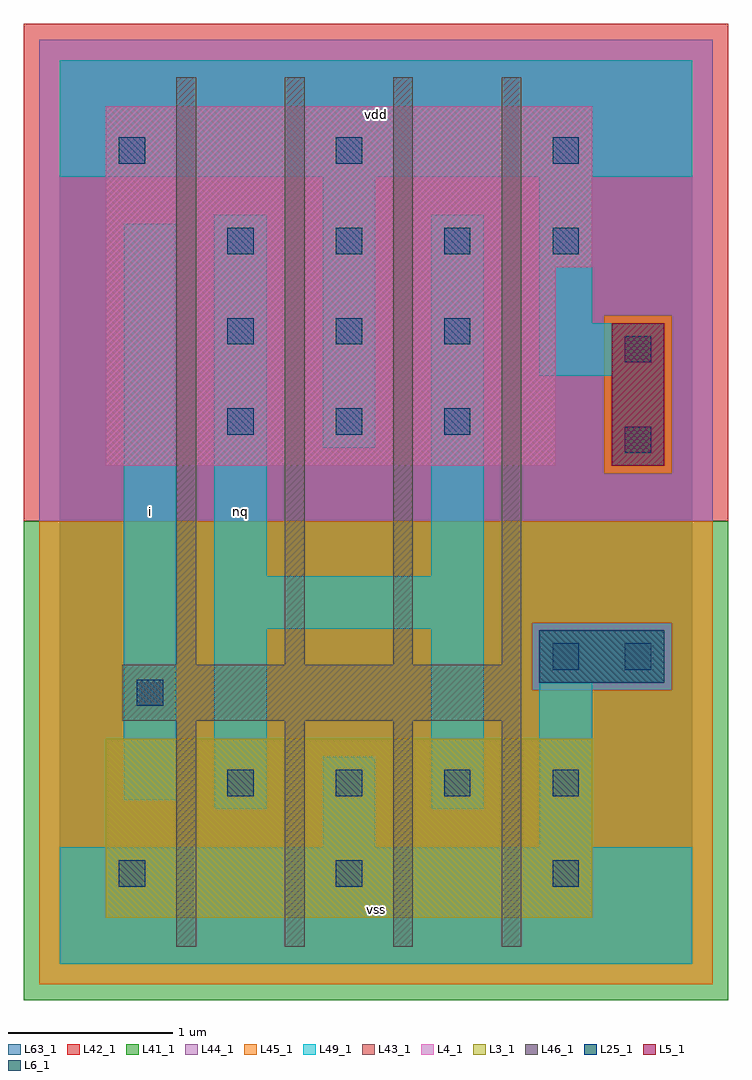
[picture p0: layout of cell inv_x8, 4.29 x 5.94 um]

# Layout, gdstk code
import gdstk
lib = gdstk.Library(unit=1e-6, precision=1e-09)
def R(c, l, rs):  # rectangles x0, y0, x1, y1
    for r in rs: c.add(gdstk.rectangle(r[:2], r[2:], *l))
def A(c, l, x, y, w, h, nx, ny, dx, dy):  # array of equal rectangles
    R(c, l, [(x+i*dx, y+j*dy, x+i*dx+w, y+j*dy+h) for i in range(nx) for j in range(ny)])
L3_1 = (3, 1)
L4_1 = (4, 1)
L5_1 = (5, 1)
L6_1 = (6, 1)
L25_1 = (25, 1)
L41_1 = (41, 1)
L42_1 = (42, 1)
L43_1 = (43, 1)
L44_1 = (44, 1)
L45_1 = (45, 1)
L46_1 = (46, 1)
L49_1 = (49, 1)
L63_1 = (63, 1)

inv_x8 = lib.new_cell('inv_x8')
R(inv_x8, L3_1, [(0.28,0.28,3.24,1.37)])
R(inv_x8, L4_1, [(0.28,3.03,3.02,4.24), (0.28,4.24,3.24,5.22)])
R(inv_x8, L5_1, [(3.36,3.03,3.68,3.9)])
R(inv_x8, L6_1, [(2.92,1.71,3.68,2.03)])
A(inv_x8, L25_1, 0.36, 0.47, 0.16, 0.16, 3, 2, 1.32, 4.4)
A(inv_x8, L25_1, 1.02, 1.02, 0.16, 0.16, 4, 2, 0.66, 3.3)
A(inv_x8, L25_1, 1.02, 3.22, 0.16, 0.16, 3, 2, 0.66, 0.55)
R(inv_x8, L25_1, [(0.47,1.57,0.63,1.73), (3,1.79,3.16,1.95), (3.44,1.79,3.6,1.95), (3.44,3.11,3.6,3.27), (3.44,3.66,3.6,3.82)])
R(inv_x8, L41_1, [(-0.22,-0.22,4.07,2.695)])
R(inv_x8, L42_1, [(-0.22,2.695,4.07,5.72)])
R(inv_x8, L43_1, [(0.28,0.28,3.24,1.37), (2.92,1.71,3.68,2.03), (0.28,3.03,3.02,4.24), (3.36,3.03,3.68,3.9), (0.28,4.24,3.24,5.22)])
R(inv_x8, L44_1, [(2.875,1.665,3.725,2.075), (-0.125,2.695,3.975,2.985), (-0.125,2.985,3.315,3.945), (3.725,2.985,3.975,3.945), (-0.125,3.945,3.975,5.625)])
R(inv_x8, L45_1, [(-0.125,-0.125,3.975,1.665), (-0.125,1.665,2.875,2.075), (3.725,1.665,3.975,2.075), (-0.125,2.075,3.975,2.695), (3.315,2.985,3.725,3.945)])
A(inv_x8, L46_1, 0.71, 0.105, 0.12, 1.375, 4, 1, 0.66, 0)
A(inv_x8, L46_1, 0.71, 1.82, 0.12, 3.575, 4, 1, 0.66, 0)
R(inv_x8, L46_1, [(0.38,1.48,2.81,1.82)])
R(inv_x8, L49_1, [(0,0,3.85,0.71), (1.6,0.71,1.92,1.26), (2.92,0.71,3.24,1.71), (0.94,0.94,1.26,2.04), (2.26,0.94,2.58,2.04), (0.39,0.995,0.71,4.505), (2.92,1.71,3.68,2.03), (0.94,2.04,2.58,2.36), (0.94,2.36,1.26,4.56), (2.26,2.36,2.58,4.56), (3.36,3.03,3.68,3.58), (1.6,3.14,1.92,4.79), (2.92,3.58,3.68,3.9), (2.92,3.9,3.24,4.79), (0,4.79,3.85,5.5)])
R(inv_x8, L63_1, [(0,0,3.85,5.5)])
inv_x8.add(gdstk.Label('i', (0.55,2.75), layer=49, texttype=1))
inv_x8.add(gdstk.Label('i', (0.55,2.75), layer=49, texttype=1))
inv_x8.add(gdstk.Label('nq', (1.1,2.75), layer=49, texttype=1))
inv_x8.add(gdstk.Label('nq', (1.1,2.75), layer=49, texttype=1))
inv_x8.add(gdstk.Label('vss', (1.925,0.33), layer=49, texttype=1))
inv_x8.add(gdstk.Label('vss', (1.925,0.33), layer=49, texttype=1))
inv_x8.add(gdstk.Label('vdd', (1.925,5.17), layer=49, texttype=1))
inv_x8.add(gdstk.Label('vdd', (1.925,5.17), layer=49, texttype=1))

lib.write_gds('inv_x8.gds')
